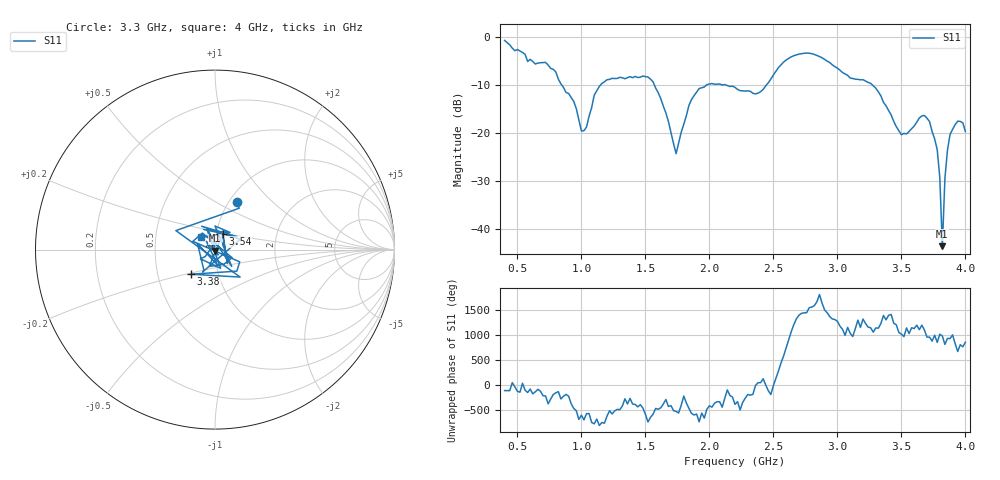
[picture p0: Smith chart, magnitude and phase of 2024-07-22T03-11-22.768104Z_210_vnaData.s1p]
!Created with skrf (http://scikit-rf.org).
# Hz S RI R 50.0
!freq ReS11 ImS11
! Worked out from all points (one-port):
!   181 points, 400 MHz to 4 GHz, reference 50 ohm
!   lowest |S11| = -43.6 dB at 3.82 GHz (marker M1), VSWR 1.01, Z = 49.9 - j0.655 ohm
!   |S11| at or under -10 dB: 1.569 GHz to 1.979 GHz (409.4 MHz wide, 23.1 % of centre); 2.124 GHz to 2.447 GHz (322.4 MHz wide, 14.1 % of centre); 3.272 GHz to end of sweep (the widest 3 of 5)
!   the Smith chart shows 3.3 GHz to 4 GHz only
!   S11 on the Smith chart (normalised r, x): 3.3 GHz: 1.09, +0.63; 3.38 GHz: 0.74, -0.21; 3.54 GHz: 1.07, +0.19; 4 GHz: 0.85, +0.12
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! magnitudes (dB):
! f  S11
! 400 MHz  -0.8
! 720 MHz  -5.3
! 860 MHz  -10.5
! 1.02 GHz  -19.5
! 1.14 GHz  -10.3
! 1.3 GHz  -8.4
! 1.56 GHz  -9.4
! 1.74 GHz  -24.3
! 1.76 GHz  -22.1
! 1.84 GHz  -14.3
! 1.92 GHz  -10.8
! 2.2 GHz  -10.5
! 2.38 GHz  -11.7
! 2.66 GHz  -3.9
! 2.84 GHz  -3.9
! 3.1 GHz  -8.6
! 3.3 GHz  -10.7
! 3.38 GHz  -14.4
! 3.54 GHz  -20.2
! 3.56 GHz  -19.7
! 3.68 GHz  -16.4
! 3.76 GHz  -21.3
! 3.8 GHz  -29.3
! 3.82 GHz  -43.6
! 3.84 GHz  -29.5
! 3.88 GHz  -20.3
! 3.94 GHz  -17.6
! 4 GHz  -19.7
